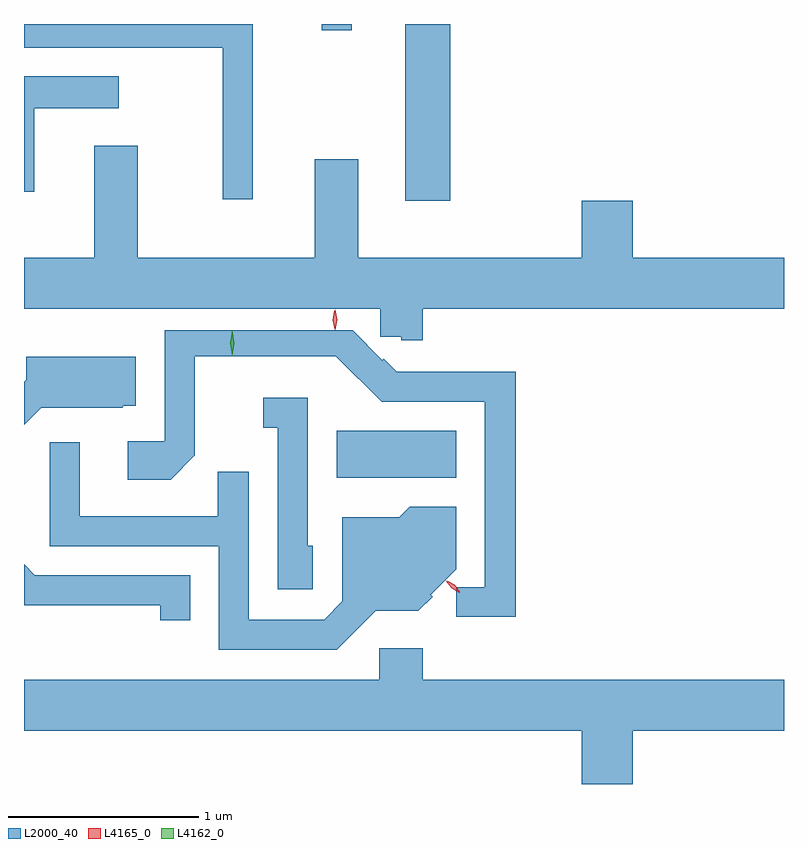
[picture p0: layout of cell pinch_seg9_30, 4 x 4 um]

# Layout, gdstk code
import gdstk
lib = gdstk.Library(unit=1e-6, precision=1e-09)
def R(c, l, rs):  # rectangles x0, y0, x1, y1
    for r in rs: c.add(gdstk.rectangle(r[:2], r[2:], *l))
def P(c, l, *ps):  # polygons
    for p in ps: c.add(gdstk.Polygon(p, *l))
L2000_40 = (2000, 40)
L4162_0 = (4162, 0)
L4165_0 = (4165, 0)

pinch_seg9_30 = lib.new_cell('pinch_seg9_30')
R(pinch_seg9_30, L2000_40, [(653.346,2022.006,653.974,2022.254), (653.706,2023.466,653.944,2024.395), (653.266,2024.363,653.424,2024.395)])
P(pinch_seg9_30, L2000_40, [(652.904,2024.395),(651.7,2024.395),(651.7,2024.271),(652.746,2024.271),(652.746,2023.473),(652.904,2023.473)],
  [(651.754,2023.951),(652.198,2023.951),(652.198,2024.119),(651.7,2024.119),(651.7,2023.511),(651.754,2023.511)],
  [(653.799,2022.896),(655.7,2022.896),(655.7,2023.164),(654.904,2023.164),(654.904,2023.464),(654.636,2023.464),(654.636,2023.164),(653.459,2023.164),(653.459,2023.684),(653.231,2023.684),(653.231,2023.164),(652.299,2023.164),(652.299,2023.754),(652.071,2023.754),(652.071,2023.164),(651.7,2023.164),(651.7,2022.896),(653.575,2022.896),(653.575,2022.748),(653.685,2022.748),(653.685,2022.731),(653.799,2022.731)],
  [(654.289,2022.564),(653.662,2022.564),(653.593,2022.633),(653.586,2022.626),(653.429,2022.783),(652.441,2022.783),(652.441,2022.199),(652.246,2022.199),(652.246,2021.996),(652.472,2021.996),(652.599,2022.124),(652.599,2022.646),(653.342,2022.646),(653.582,2022.406),(654.126,2022.406),(654.126,2021.43),(653.974,2021.43),(653.974,2021.276),(654.289,2021.276)],
  [(651.792,2022.376),(652.216,2022.376),(652.226,2022.386),(652.289,2022.386),(652.289,2022.644),(651.711,2022.644),(651.711,2022.522),(651.7,2022.511),(651.7,2022.285)],
  [(653.219,2021.649),(653.194,2021.649),(653.194,2022.429),(652.958,2022.429),(652.958,2022.271),(653.036,2022.271),(653.036,2021.421),(653.219,2021.421)],
  [(653.552,2021.306),(653.776,2021.306),(653.85,2021.38),(653.84,2021.391),(653.974,2021.526),(653.974,2021.854),(653.729,2021.854),(653.674,2021.799),(653.376,2021.799),(653.376,2021.357),(653.279,2021.259),(652.884,2021.259),(652.884,2022.038),(652.721,2022.038),(652.721,2021.804),(651.994,2021.804),(651.994,2022.193),(651.836,2022.193),(651.836,2021.646),(652.726,2021.646),(652.726,2021.101),(653.347,2021.101)],
  [(652.574,2021.494),(651.757,2021.494),(651.7,2021.551),(651.7,2021.336),(652.416,2021.336),(652.416,2021.258),(652.574,2021.258)],
  [(654.904,2020.676),(655.7,2020.676),(655.7,2020.944),(653.799,2020.944),(653.799,2021.109),(653.571,2021.109),(653.571,2020.944),(651.7,2020.944),(651.7,2020.676),(654.636,2020.676),(654.636,2020.395),(654.904,2020.395)])
P(pinch_seg9_30, L4162_0, [(652.796,2022.651),(652.796,2022.651),(652.786,2022.715),(652.796,2022.78),(652.796,2022.78),(652.797,2022.78),(652.806,2022.715),(652.797,2022.651)],
  [(652.796,2022.647),(652.796,2022.648),(652.786,2022.715),(652.796,2022.783),(652.796,2022.784),(652.797,2022.783),(652.806,2022.715),(652.797,2022.648)])
P(pinch_seg9_30, L4165_0, [(653.992,2021.402),(653.95,2021.426),(653.92,2021.465),(653.92,2021.465),(653.921,2021.465),(653.963,2021.441),(653.993,2021.402),(653.993,2021.402)],
  [(653.992,2021.407),(653.954,2021.428),(653.927,2021.464),(653.927,2021.465),(653.928,2021.465),(653.967,2021.443),(653.993,2021.407),(653.993,2021.407)],
  [(653.337,2022.786),(653.328,2022.838),(653.337,2022.891),(653.337,2022.891),(653.338,2022.891),(653.348,2022.839),(653.338,2022.786),(653.338,2022.786)],
  [(653.335,2022.788),(653.335,2022.789),(653.325,2022.837),(653.334,2022.886),(653.335,2022.887),(653.336,2022.886),(653.345,2022.838),(653.336,2022.789)])

lib.write_gds('pinch_seg9_30.gds')
